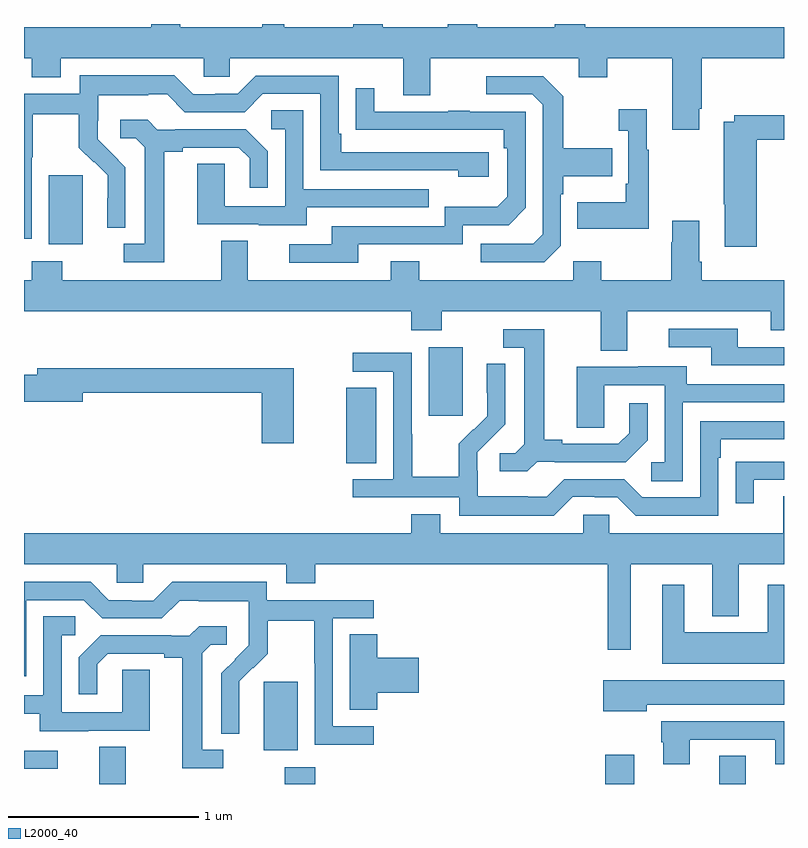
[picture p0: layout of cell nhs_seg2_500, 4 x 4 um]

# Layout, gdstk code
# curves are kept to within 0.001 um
import gdstk
lib = gdstk.Library(unit=1e-6, precision=1e-09)
def R(c, l, rs):  # rectangles x0, y0, x1, y1
    for r in rs: c.add(gdstk.rectangle(r[:2], r[2:], *l))
def P(c, l, *ps):  # polygons
    for p in ps: c.add(gdstk.Polygon(p, *l))
L2000_40 = (2000, 40)

nhs_seg2_500 = lib.new_cell('nhs_seg2_500')
R(nhs_seg2_500, L2000_40, [(135.395,659.8,135.535,659.996), (136.372,659.8,136.532,659.887), (138.059,659.8,138.211,659.953), (138.659,659.8,138.799,659.948), (135,659.88,135.178,659.976), (136.262,659.978,136.441,660.339), (136.697,661.489,136.855,661.886), (137.129,661.737,137.308,662.098), (135.131,662.642,135.31,663.003)])
P(nhs_seg2_500, L2000_40, [(137.921,663.521),(138.069,663.521),(138.069,663.62),(138.413,663.62),(138.413,663.243),(138.553,663.243),(138.553,663.355),(138.566,663.355),(138.566,663.62),(139,663.62),(139,663.784),(137.954,663.784),(137.954,663.8),(137.794,663.8),(137.794,663.784),(137.385,663.784),(137.385,663.8),(137.23,663.8),(137.23,663.784),(136.887,663.784),(136.887,663.8),(136.732,663.8),(136.732,663.784),(136.371,663.784),(136.371,663.8),(136.253,663.8),(136.253,663.784),(135.823,663.784),(135.823,663.8),(135.671,663.8),(135.671,663.784),(135,663.784),(135,663.62),(135.041,663.62),(135.041,663.521),(135.193,663.521),(135.193,663.62),(135.945,663.62),(135.945,663.522),(136.083,663.522),(136.083,663.62),(136.997,663.62),(136.997,663.426),(137.137,663.426),(137.137,663.62),(137.921,663.62)],
  [(135.042,663.1),(135.045,663.1),(135.045,663.324),(135.289,663.324),(135.289,663.149),(135.366,663.072),(135.369,663.075),(135.44,663.005),(135.44,662.882),(135.438,662.882),(135.438,662.728),(135.534,662.728),(135.534,663.046),(135.388,663.194),(135.388,663.291),(135.39,663.291),(135.39,663.425),(135.653,663.425),(135.653,663.429),(135.753,663.429),(135.846,663.336),(136.161,663.336),(136.257,663.432),(136.56,663.432),(136.56,663.03),(137.285,663.03),(137.285,662.996),(137.446,662.996),(137.446,663.126),(136.669,663.126),(136.669,663.223),(136.656,663.223),(136.656,663.528),(136.221,663.528),(136.125,663.432),(136.007,663.432),(136.007,663.429),(135.891,663.429),(135.791,663.529),(135.294,663.529),(135.294,663.432),(135,663.432),(135,662.671),(135.042,662.671)],
  [(137.826,662.634),(137.826,662.903),(137.839,662.903),(137.839,662.999),(138.095,662.999),(138.095,663.147),(137.839,663.147),(137.839,663.419),(137.733,663.525),(137.433,663.525),(137.433,663.429),(137.676,663.429),(137.73,663.375),(137.73,662.694),(137.679,662.643),(137.403,662.643),(137.403,662.547),(137.739,662.547)],
  [(136.759,662.64),(137.31,662.64),(137.31,662.742),(137.55,662.742),(137.64,662.832),(137.64,663.339),(137.345,663.339),(137.345,663.344),(137.233,663.344),(137.233,663.339),(136.843,663.339),(136.843,663.463),(136.747,663.463),(136.747,663.244),(137.524,663.243),(137.524,663.146),(137.544,663.146),(137.544,662.892),(137.491,662.839),(137.214,662.839),(137.214,662.736),(136.619,662.736),(136.619,662.64),(136.395,662.64),(136.395,662.544),(136.759,662.544)],
  [(138.289,663.139),(138.277,663.139),(138.277,663.352),(138.129,663.352),(138.129,663.239),(138.18,663.239),(138.18,662.959),(138.168,662.959),(138.168,662.863),(137.911,662.863),(137.911,662.723),(138.289,662.723)],
  [(136.489,662.835),(137.129,662.835),(137.129,662.931),(136.47,662.931),(136.47,663.347),(136.302,663.347),(136.302,663.246),(136.374,663.246),(136.374,662.841),(136.056,662.841),(136.056,663.065),(135.911,663.065),(135.911,662.745),(136.235,662.745),(136.235,662.741),(136.489,662.741)],
  [(138.857,663.19),(139,663.19),(139,663.319),(138.738,663.319),(138.738,663.286),(138.682,663.286),(138.682,662.851),(138.689,662.851),(138.689,662.628),(138.857,662.628)],
  [(135.739,663.128),(135.835,663.128),(135.835,663.15),(136.13,663.15),(136.187,663.093),(136.187,662.937),(136.284,662.937),(136.284,663.13),(136.168,663.246),(135.796,663.246),(135.796,663.243),(135.702,663.243),(135.65,663.295),(135.507,663.295),(135.507,663.198),(135.588,663.198),(135.635,663.151),(135.635,662.643),(135.525,662.643),(135.525,662.547),(135.739,662.547)],
  [(138.413,662.764),(138.413,662.651),(138.406,662.651),(138.406,662.452),(138.039,662.452),(138.039,662.551),(137.892,662.551),(137.892,662.452),(137.079,662.452),(137.079,662.551),(136.931,662.551),(136.931,662.452),(136.177,662.452),(136.177,662.66),(136.037,662.66),(136.037,662.452),(135.201,662.452),(135.201,662.551),(135.041,662.551),(135.041,662.452),(135,662.452),(135,662.288),(137.039,662.288),(137.039,662.189),(137.199,662.189),(137.199,662.288),(138.035,662.288),(138.035,662.08),(138.175,662.08),(138.175,662.288),(138.929,662.288),(138.929,662.189),(139,662.189),(139,662.452),(138.566,662.452),(138.566,662.548),(138.553,662.548),(138.553,662.764)],
  [(139,662.1),(138.757,662.1),(138.757,662.196),(138.393,662.196),(138.393,662.1),(138.617,662.1),(138.617,662.004),(139,662.004)],
  [(137.7,661.497),(137.794,661.497),(137.794,661.494),(138.166,661.494),(138.282,661.61),(138.282,661.804),(138.185,661.804),(138.185,661.647),(138.128,661.59),(137.833,661.59),(137.833,661.613),(137.737,661.613),(137.737,662.193),(137.523,662.193),(137.523,662.097),(137.633,662.097),(137.633,661.589),(137.586,661.542),(137.505,661.542),(137.505,661.445),(137.648,661.445)],
  [(137.889,661.311),(138.005,661.311),(138.005,661.308),(138.123,661.308),(138.219,661.212),(138.654,661.212),(138.654,661.517),(138.667,661.517),(138.667,661.614),(139,661.614),(139,661.71),(138.558,661.71),(138.558,661.308),(138.255,661.308),(138.159,661.404),(137.844,661.404),(137.751,661.311),(137.651,661.311),(137.651,661.315),(137.388,661.315),(137.388,661.449),(137.386,661.449),(137.386,661.546),(137.532,661.694),(137.532,662.012),(137.436,662.012),(137.436,661.858),(137.438,661.858),(137.438,661.736),(137.367,661.665),(137.364,661.668),(137.287,661.591),(137.287,661.417),(137.043,661.417),(137.043,661.64),(137.04,661.64),(137.04,662.07),(136.731,662.07),(136.731,661.971),(136.944,661.971),(136.944,661.404),(136.731,661.404),(136.731,661.308),(137.292,661.308),(137.292,661.211),(137.789,661.211)],
  [(138.468,661.809),(139,661.809),(139,661.905),(138.487,661.905),(138.487,661.999),(138.233,661.999),(138.233,661.995),(137.909,661.995),(137.909,661.675),(138.054,661.675),(138.054,661.899),(138.372,661.899),(138.372,661.494),(138.3,661.494),(138.3,661.393),(138.468,661.393)],
  [(136.42,661.987),(135.071,661.987),(135.071,661.953),(135,661.953),(135,661.811),(135.31,661.811),(135.31,661.858),(136.25,661.858),(136.25,661.593),(136.42,661.593)],
  [(138.841,661.401),(139,661.401),(139,661.497),(138.847,661.497),(138.847,661.496),(138.745,661.496),(138.745,661.278),(138.841,661.278)],
  [(138.193,660.956),(138.623,660.956),(138.623,660.683),(138.763,660.683),(138.763,660.956),(139,660.956),(139,661.315),(138.995,661.315),(138.995,661.12),(138.081,661.12),(138.081,661.218),(137.943,661.218),(137.943,661.12),(137.191,661.12),(137.191,661.219),(137.039,661.219),(137.039,661.12),(135,661.12),(135,660.956),(135.489,660.956),(135.489,660.858),(135.627,660.858),(135.627,660.956),(136.379,660.956),(136.379,660.857),(136.532,660.857),(136.532,660.956),(138.072,660.956),(138.072,660.507),(138.193,660.507)],
  [(136.84,660.105),(136.626,660.105),(136.626,660.672),(136.84,660.672),(136.84,660.768),(136.278,660.768),(136.278,660.865),(135.781,660.865),(135.681,660.765),(135.566,660.765),(135.566,660.768),(135.447,660.768),(135.351,660.864),(135,660.864),(135,660.366),(135.012,660.366),(135.012,660.768),(135.315,660.768),(135.411,660.672),(135.726,660.672),(135.819,660.765),(135.919,660.765),(135.919,660.761),(136.182,660.761),(136.182,660.627),(136.184,660.627),(136.184,660.53),(136.038,660.382),(136.038,660.064),(136.134,660.064),(136.133,660.341),(136.203,660.411),(136.206,660.408),(136.283,660.485),(136.283,660.66),(136.528,660.66),(136.528,660.436),(136.53,660.436),(136.53,660.007),(136.84,660.007)],
  [(139,660.85),(138.914,660.85),(138.914,660.598),(138.475,660.598),(138.475,660.85),(138.359,660.85),(138.359,660.434),(139,660.434)],
  [(135.337,660.081),(135.661,660.081),(135.661,660.401),(135.516,660.401),(135.516,660.177),(135.198,660.177),(135.198,660.582),(135.271,660.582),(135.271,660.683),(135.102,660.683),(135.102,660.267),(135,660.267),(135,660.171),(135.083,660.171),(135.083,660.077),(135.337,660.077)],
  [(136.048,659.979),(135.937,659.979),(135.937,660.487),(135.984,660.534),(136.066,660.534),(136.066,660.631),(135.922,660.631),(135.87,660.579),(135.776,660.579),(135.776,660.582),(135.404,660.582),(135.288,660.466),(135.288,660.273),(135.385,660.273),(135.385,660.429),(135.442,660.486),(135.737,660.486),(135.737,660.464),(135.833,660.464),(135.833,659.883),(136.048,659.883)],
  [(136.859,660.281),(137.077,660.281),(137.077,660.464),(136.859,660.464),(136.859,660.587),(136.715,660.587),(136.715,660.19),(136.859,660.19)],
  [(138.277,660.218),(139,660.218),(139,660.346),(138.048,660.346),(138.048,660.182),(138.277,660.182)],
  [(138.505,660.033),(138.953,660.033),(138.953,659.904),(139,659.904),(139,660.129),(138.353,660.129),(138.353,660.021),(138.365,660.021),(138.365,659.904),(138.505,659.904)])

lib.write_gds('nhs_seg2_500.gds')
